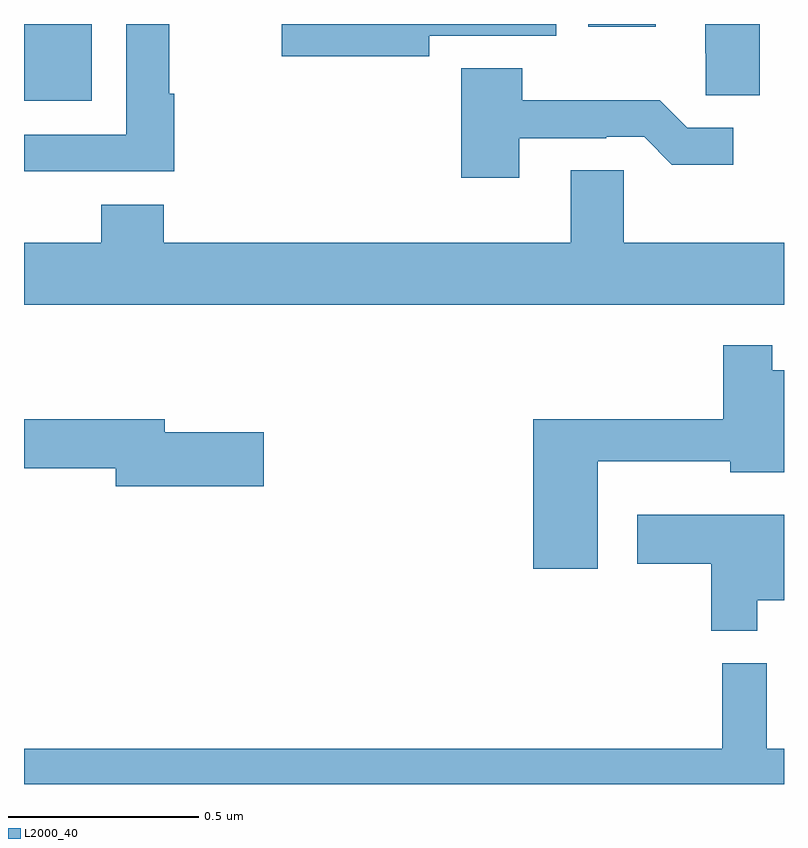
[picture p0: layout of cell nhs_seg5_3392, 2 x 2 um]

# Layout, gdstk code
import gdstk
lib = gdstk.Library(unit=1e-6, precision=1e-09)
def R(c, l, rs):  # rectangles x0, y0, x1, y1
    for r in rs: c.add(gdstk.rectangle(r[:2], r[2:], *l))
def P(c, l, *ps):  # polygons
    for p in ps: c.add(gdstk.Polygon(p, *l))
L2000_40 = (2000, 40)

nhs_seg5_3392 = lib.new_cell('nhs_seg5_3392')
R(nhs_seg5_3392, L2000_40, [(156,890.597,156.178,890.799), (157.485,890.792,157.663,890.799)])
P(nhs_seg5_3392, L2000_40, [(156.395,890.615),(156.382,890.615),(156.382,890.799),(156.269,890.799),(156.269,890.508),(156,890.508),(156,890.411),(156.395,890.411)],
  [(157.936,890.799),(157.793,890.799),(157.793,890.722),(157.794,890.722),(157.794,890.611),(157.936,890.611)],
  [(157.066,890.768),(157.4,890.768),(157.4,890.799),(156.678,890.799),(156.678,890.714),(157.066,890.714)],
  [(157.303,890.499),(157.532,890.499),(157.532,890.502),(157.632,890.502),(157.705,890.429),(157.867,890.429),(157.867,890.526),(157.746,890.526),(157.673,890.599),(157.311,890.599),(157.311,890.683),(157.151,890.683),(157.151,890.394),(157.303,890.394)],
  [(158,890.224),(157.578,890.224),(157.578,890.414),(157.439,890.414),(157.439,890.224),(156.368,890.224),(156.368,890.323),(156.203,890.323),(156.203,890.224),(156,890.224),(156,890.06),(158,890.06)],
  [(157.51,889.649),(157.859,889.649),(157.859,889.619),(158,889.619),(158,889.888),(157.969,889.888),(157.969,889.954),(157.84,889.954),(157.84,889.759),(157.34,889.759),(157.34,889.365),(157.51,889.365)],
  [(156.631,889.725),(156.37,889.725),(156.37,889.759),(156,889.759),(156,889.63),(156.242,889.63),(156.242,889.583),(156.631,889.583)],
  [(157.93,889.283),(158,889.283),(158,889.507),(157.614,889.507),(157.614,889.378),(157.808,889.378),(157.808,889.202),(157.93,889.202)],
  [(158,888.892),(157.955,888.892),(157.955,889.117),(157.837,889.117),(157.837,888.892),(156,888.892),(156,888.799),(158,888.799)])

lib.write_gds('nhs_seg5_3392.gds')
